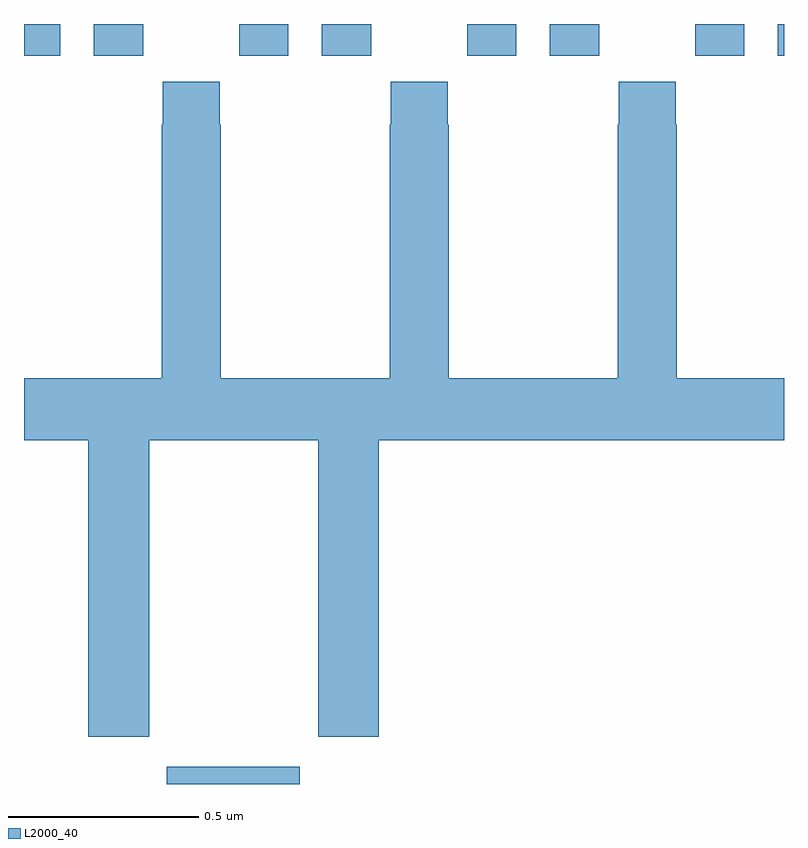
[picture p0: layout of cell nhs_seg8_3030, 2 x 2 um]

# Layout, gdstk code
import gdstk
lib = gdstk.Library(unit=1e-6, precision=1e-09)
def R(c, l, rs):  # rectangles x0, y0, x1, y1
    for r in rs: c.add(gdstk.rectangle(r[:2], r[2:], *l))
def P(c, l, *ps):  # polygons
    for p in ps: c.add(gdstk.Polygon(p, *l))
L2000_40 = (2000, 40)

nhs_seg8_3030 = lib.new_cell('nhs_seg8_3030')
R(nhs_seg8_3030, L2000_40, [(151.376,1144.9,151.726,1144.945), (151,1146.816,151.096,1146.9), (151.184,1146.816,151.314,1146.9), (151.566,1146.816,151.696,1146.9), (151.784,1146.816,151.914,1146.9), (152.166,1146.816,152.296,1146.9), (152.384,1146.816,152.514,1146.9), (152.766,1146.816,152.896,1146.9), (152.984,1146.816,153,1146.9)])
P(nhs_seg8_3030, L2000_40, [(153,1145.968),(152.718,1145.968),(152.718,1146.635),(152.715,1146.635),(152.715,1146.748),(152.565,1146.748),(152.565,1146.635),(152.563,1146.635),(152.563,1145.968),(152.118,1145.968),(152.118,1146.635),(152.115,1146.635),(152.115,1146.748),(151.965,1146.748),(151.965,1146.635),(151.963,1146.635),(151.963,1145.968),(151.518,1145.968),(151.518,1146.635),(151.515,1146.635),(151.515,1146.748),(151.365,1146.748),(151.365,1146.635),(151.363,1146.635),(151.363,1145.968),(151,1145.968),(151,1145.804),(151.169,1145.804),(151.169,1145.025),(151.329,1145.025),(151.329,1145.804),(151.774,1145.804),(151.774,1145.025),(151.934,1145.025),(151.934,1145.804),(153,1145.804)])

lib.write_gds('nhs_seg8_3030.gds')
